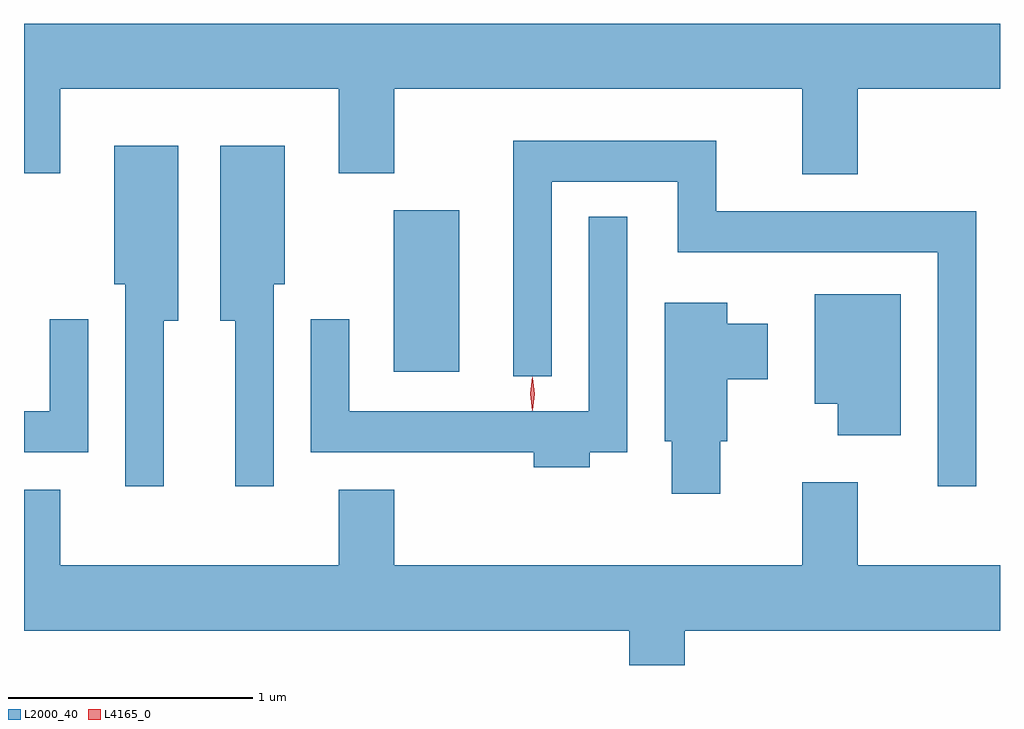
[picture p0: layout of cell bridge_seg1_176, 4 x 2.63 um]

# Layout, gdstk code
import gdstk
lib = gdstk.Library(unit=1e-6, precision=1e-09)
def R(c, l, rs):  # rectangles x0, y0, x1, y1
    for r in rs: c.add(gdstk.rectangle(r[:2], r[2:], *l))
def P(c, l, *ps):  # polygons
    for p in ps: c.add(gdstk.Polygon(p, *l))
L2000_40 = (2000, 40)
L4165_0 = (4165, 0)

bridge_seg1_176 = lib.new_cell('bridge_seg1_176')
R(bridge_seg1_176, L2000_40, [(797.276,931.716,797.544,932.379)])
P(bridge_seg1_176, L2000_40, [(799.179,932.876),(799.761,932.876),(799.761,933.144),(795.761,933.144),(795.761,932.531),(795.909,932.531),(795.909,932.876),(797.051,932.876),(797.051,932.531),(797.279,932.531),(797.279,932.876),(798.951,932.876),(798.951,932.526),(799.179,932.526)],
  [(799.664,932.374),(798.599,932.374),(798.599,932.664),(797.766,932.664),(797.766,931.698),(797.924,931.698),(797.924,932.496),(798.441,932.496),(798.441,932.206),(799.506,932.206),(799.506,931.248),(799.664,931.248)],
  [(796.334,931.926),(796.394,931.926),(796.394,932.644),(796.131,932.644),(796.131,932.076),(796.176,932.076),(796.176,931.248),(796.334,931.248)],
  [(796.784,932.076),(796.829,932.076),(796.829,932.644),(796.566,932.644),(796.566,931.926),(796.626,931.926),(796.626,931.248),(796.784,931.248)],
  [(798.079,931.386),(798.234,931.386),(798.234,932.353),(798.076,932.353),(798.076,931.554),(797.094,931.554),(797.094,931.933),(796.936,931.933),(796.936,931.386),(797.851,931.386),(797.851,931.326),(798.079,931.326)],
  [(799.354,932.034),(799.001,932.034),(799.001,931.586),(799.096,931.586),(799.096,931.456),(799.354,931.456)],
  [(798.614,931.431),(798.644,931.431),(798.644,931.686),(798.809,931.686),(798.809,931.914),(798.644,931.914),(798.644,931.999),(798.386,931.999),(798.386,931.431),(798.416,931.431),(798.416,931.216),(798.614,931.216)],
  [(796.024,931.933),(795.866,931.933),(795.866,931.554),(795.761,931.554),(795.761,931.386),(796.024,931.386)],
  [(798.469,930.656),(799.761,930.656),(799.761,930.924),(799.179,930.924),(799.179,931.264),(798.951,931.264),(798.951,930.924),(797.279,930.924),(797.279,931.234),(797.051,931.234),(797.051,930.924),(795.909,930.924),(795.909,931.234),(795.761,931.234),(795.761,930.656),(798.241,930.656),(798.241,930.513),(798.469,930.513)])
P(bridge_seg1_176, L4165_0, [(797.845,931.56),(797.835,931.626),(797.845,931.692),(797.845,931.693),(797.846,931.692),(797.855,931.626),(797.846,931.56),(797.846,931.56)],
  [(797.844,931.557),(797.835,931.626),(797.844,931.696),(797.845,931.696),(797.845,931.696),(797.855,931.626),(797.845,931.557),(797.845,931.557)])

lib.write_gds('bridge_seg1_176.gds')
